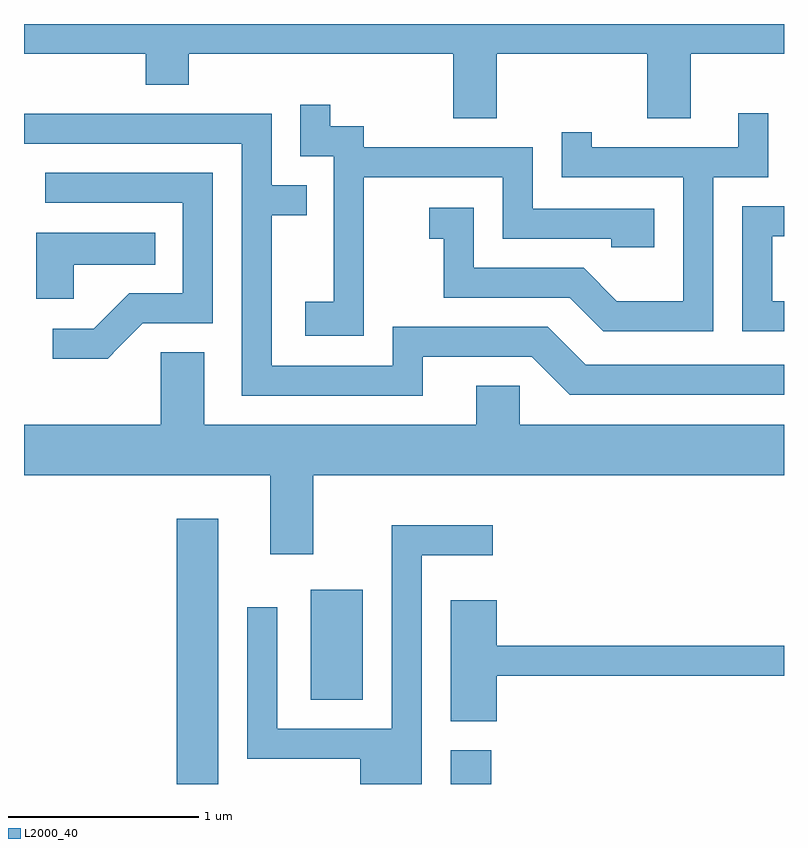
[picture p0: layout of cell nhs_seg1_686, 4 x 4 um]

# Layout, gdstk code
import gdstk
lib = gdstk.Library(unit=1e-6, precision=1e-09)
def R(c, l, rs):  # rectangles x0, y0, x1, y1
    for r in rs: c.add(gdstk.rectangle(r[:2], r[2:], *l))
def P(c, l, *ps):  # polygons
    for p in ps: c.add(gdstk.Polygon(p, *l))
L2000_40 = (2000, 40)

nhs_seg1_686 = lib.new_cell('nhs_seg1_686')
R(nhs_seg1_686, L2000_40, [(206.416,915.712,206.634,917.109), (207.856,915.712,208.069,915.889), (207.121,916.156,207.394,916.734)])
P(nhs_seg1_686, L2000_40, [(208.099,919.556),(208.891,919.556),(208.891,919.216),(209.119,919.216),(209.119,919.556),(209.611,919.556),(209.611,919.712),(205.611,919.712),(205.611,919.556),(206.251,919.556),(206.251,919.391),(206.479,919.391),(206.479,919.556),(207.871,919.556),(207.871,919.216),(208.099,919.216)],
  [(207.399,918.906),(208.131,918.906),(208.131,918.581),(208.701,918.581),(208.701,918.536),(208.929,918.536),(208.929,918.739),(208.289,918.739),(208.289,919.064),(207.399,919.064),(207.399,919.174),(207.224,919.174),(207.224,919.288),(207.066,919.288),(207.066,919.016),(207.241,919.016),(207.241,918.249),(207.091,918.249),(207.091,918.071),(207.399,918.071)],
  [(209.239,918.906),(209.529,918.906),(209.529,919.243),(209.371,919.243),(209.371,919.064),(208.599,919.064),(208.599,919.143),(208.441,919.143),(208.441,918.906),(209.081,918.906),(209.081,918.254),(208.732,918.254),(208.557,918.429),(207.979,918.429),(207.979,918.744),(207.743,918.744),(207.743,918.581),(207.821,918.581),(207.821,918.271),(208.484,918.271),(208.659,918.096),(209.239,918.096)],
  [(207.709,917.961),(208.284,917.961),(208.484,917.761),(209.611,917.761),(209.611,917.919),(208.567,917.919),(208.367,918.119),(207.551,918.119),(207.551,917.914),(206.914,917.914),(206.914,918.706),(207.098,918.706),(207.098,918.864),(206.914,918.864),(206.914,919.239),(205.611,919.239),(205.611,919.081),(206.756,919.081),(206.756,917.756),(207.709,917.756)],
  [(206.113,918.013),(206.237,918.136),(206.604,918.136),(206.604,918.929),(205.723,918.929),(205.723,918.771),(206.446,918.771),(206.446,918.294),(206.164,918.294),(205.979,918.109),(205.763,918.109),(205.763,917.951),(206.052,917.951)],
  [(209.611,918.254),(209.549,918.254),(209.549,918.596),(209.611,918.596),(209.611,918.754),(209.391,918.754),(209.391,918.096),(209.611,918.096)],
  [(205.874,918.446),(206.303,918.446),(206.303,918.614),(205.676,918.614),(205.676,918.266),(205.874,918.266)],
  [(207.134,917.336),(209.611,917.336),(209.611,917.604),(208.219,917.604),(208.219,917.809),(207.991,917.809),(207.991,917.604),(206.559,917.604),(206.559,917.984),(206.331,917.984),(206.331,917.604),(205.611,917.604),(205.611,917.336),(206.906,917.336),(206.906,916.921),(207.134,916.921)],
  [(207.704,916.916),(208.078,916.916),(208.078,917.074),(207.546,917.074),(207.546,916.004),(206.944,916.004),(206.944,916.643),(206.786,916.643),(206.786,915.846),(207.381,915.846),(207.381,915.712),(207.704,915.712)],
  [(208.099,916.281),(209.611,916.281),(209.611,916.439),(208.099,916.439),(208.099,916.679),(207.856,916.679),(207.856,916.041),(208.099,916.041)])

lib.write_gds('nhs_seg1_686.gds')
